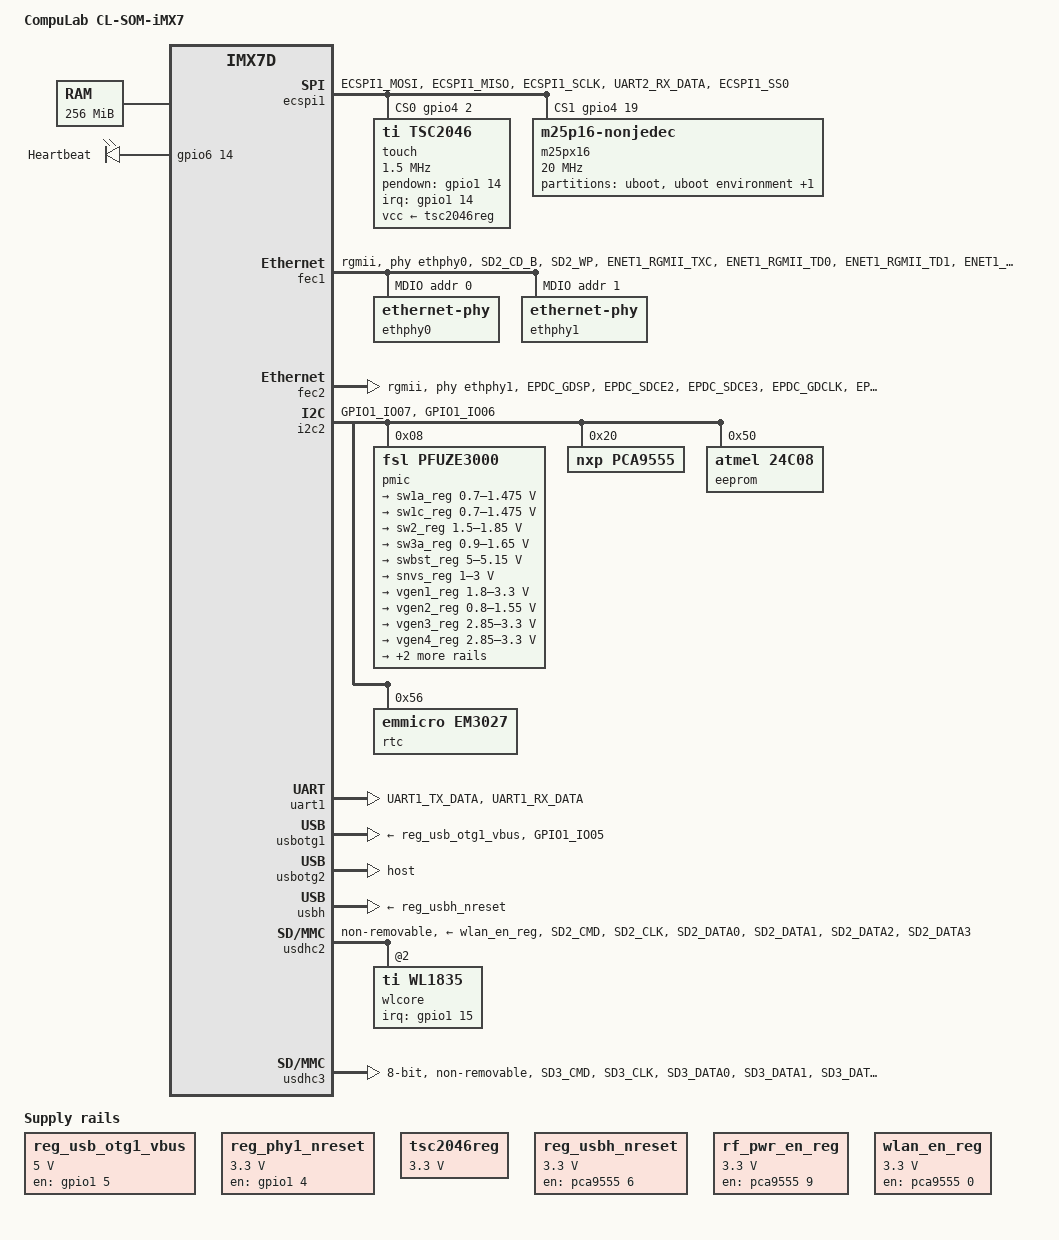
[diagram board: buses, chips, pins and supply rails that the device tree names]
/*
 * Support for CompuLab CL-SOM-iMX7 System-on-Module
 *
 * Copyright (C) 2015 CompuLab Ltd. - http://www.compulab.co.il/
 * Author: Ilya Ledvich <ilya@compulab.co.il>
 *
 * This file is dual-licensed: you can use it either under the terms
 * of the GPL or the X11 license, at your option. Note that this dual
 * licensing only applies to this file, and not this project as a
 * whole.
 */

/dts-v1/;

#include "imx7d.dtsi"

/ {
	model = "CompuLab CL-SOM-iMX7";
	compatible = "compulab,cl-som-imx7", "fsl,imx7d";

	aliases {
		gpmi = &gpmi;
	};

	memory {
		reg = <0x80000000 0x10000000>; /* 256 MB - minimal configuration */
	};

	/* Regulators */
	reg_usb_otg1_vbus: regulator-vbus {
		compatible = "regulator-fixed";
		regulator-name = "usb_otg1_vbus";
		regulator-min-microvolt = <5000000>;
		regulator-max-microvolt = <5000000>;
		gpio = <&gpio1 5 GPIO_ACTIVE_HIGH>;
		enable-active-high;
	};

	reg_phy1_nreset: regulator-phy1-nrst {
		compatible = "regulator-fixed";
		regulator-name = "fec1_phy_nreset";
		regulator-min-microvolt = <3300000>;
		regulator-max-microvolt = <3300000>;
		gpio = <&gpio1 4 GPIO_ACTIVE_HIGH>;
		enable-active-high;
		regulator-always-on;
	};

	tsc2046reg: regulator-tsc {
		compatible = "regulator-fixed";
		regulator-name = "tsc2046-reg";
		regulator-min-microvolt = <3300000>;
		regulator-max-microvolt = <3300000>;
		regulator-always-on;
	};

	reg_usbh_nreset: regulator-usbh-nrst {
		compatible = "regulator-fixed";
		regulator-name = "usb_host_nreset";
		regulator-min-microvolt = <3300000>;
		regulator-max-microvolt = <3300000>;
		gpio = <&pca9555 6 GPIO_ACTIVE_HIGH>;
		enable-active-high;
		regulator-always-on;
	};

	rf_pwr_en_reg: regulator-rf-pwr-en {
		compatible = "regulator-fixed";
		regulator-name = "rf-pwr-en-regulator";
		regulator-min-microvolt = <3300000>;
		regulator-max-microvolt = <3300000>;
		gpio = <&pca9555 9 GPIO_ACTIVE_HIGH>;
		startup-delay-us = <70000>;
		enable-active-high;
		regulator-always-on;
	};

	wlan_en_reg: regulator-wlan-en {
		compatible = "regulator-fixed";
		regulator-name = "wlan-en-regulator";
		regulator-min-microvolt = <3300000>;
		regulator-max-microvolt = <3300000>;
		gpio = <&pca9555 0 GPIO_ACTIVE_HIGH>;
		/* WLAN card specific delay */
		startup-delay-us = <70000>;
		enable-active-high;
	};
	/* Regulators - end */

	leds {
		compatible = "gpio-leds";

		onboard-led {
			label = "Heartbeat";
			gpios = <&gpio6 14 GPIO_ACTIVE_HIGH>;
			linux,default-trigger = "heartbeat";
		};
	};
};

&cpu0 {
	arm-supply = <&sw1a_reg>;
};

&ecspi1 {
	fsl,spi-num-chipselects = <2>;
	pinctrl-names = "default";
	pinctrl-0 = <&pinctrl_ecspi1 &pinctrl_ecspi1_cs>;
	cs-gpios = <&gpio4 2 0>, <&gpio4 19 0>;
	status = "okay";

	/* touch controller */
	touch:	tsc2046@0 {
		pinctrl-names = "default";
		pinctrl-0 = <&pinctrl_tsc2046>;

		compatible = "ti,tsc2046";
		vcc-supply = <&tsc2046reg>;

		reg = <0>;
		spi-max-frequency = <1500000>;

		interrupt-parent = <&gpio1>;
		interrupts = <14 0>;
		pendown-gpio = <&gpio1 14 0>;

		ti,x-min = /bits/ 16 <0x0>;
		ti,x-max = /bits/ 16 <0x0fff>;
		ti,y-min = /bits/ 16 <0x0>;
		ti,y-max = /bits/ 16 <0x0fff>;

		ti,x-plate-ohms = /bits/ 16 <180>;
		ti,pressure-max = /bits/ 16 <255>;

		ti,debounce-max = /bits/ 16 <30>;
		ti,debounce-tol = /bits/ 16 <10>;
		ti,debounce-rep = /bits/ 16 <1>;

		linux,wakeup;
	};

	m25px16@0 {
		#address-cells = <1>;
		#size-cells = <1>;
		compatible = "m25p16-nonjedec";
		spi-max-frequency = <20000000>;
		reg = <1>;

		partition@0 {
			label = "uboot";
			reg = <0x0 0xc0000>;
		};

		partition@c0000 {
			label = "uboot environment";
			reg = <0xc0000 0x40000>;
		};

		partition@100000 {
			label = "splash";
			reg = <0x100000 0x100000>;
		};
	};
};

&fec1 {
	pinctrl-names = "default";
	pinctrl-0 = <&pinctrl_enet1>;
	assigned-clocks = <&clks IMX7D_ENET1_TIME_ROOT_SRC>,
			  <&clks IMX7D_ENET1_TIME_ROOT_CLK>;
	assigned-clock-parents = <&clks IMX7D_PLL_ENET_MAIN_100M_CLK>;
	assigned-clock-rates = <0>, <100000000>;
	phy-mode = "rgmii";
	phy-handle = <&ethphy0>;
	fsl,magic-packet;
	phy-reset-gpios = <&pca9555 4 GPIO_ACTIVE_LOW>;	
	status = "okay";

	mdio {
		#address-cells = <1>;
		#size-cells = <0>;

		ethphy0: ethernet-phy@0 {
			reg = <0>;
		};

		ethphy1: ethernet-phy@1 {
			reg = <1>;
		};
	};
};

&fec2 {
	pinctrl-names = "default";
	pinctrl-0 = <&pinctrl_enet2>;
	assigned-clocks = <&clks IMX7D_ENET2_TIME_ROOT_SRC>,
			  <&clks IMX7D_ENET2_TIME_ROOT_CLK>;
	assigned-clock-parents = <&clks IMX7D_PLL_ENET_MAIN_100M_CLK>;
	assigned-clock-rates = <0>, <100000000>;
	phy-mode = "rgmii";
	phy-handle = <&ethphy1>;
	fsl,magic-packet;
	status = "okay";
};

&gpmi {
	pinctrl-names = "default";
	pinctrl-0 = <&pinctrl_gpmi_nand>;
	status = "disabled";
	nand-on-flash-bbt;

	/* MTD partition table */
	partition@0 {
		label = "kernel";
		reg = <0x00000000 0x00980000>;
	};
	partition@980000 {
		label = "dtb";
		reg = <0x00980000 0x00080000>;
	};
	partition@a00000 {
		label = "rootfs";
		reg = <0x00a00000 0x0>;
	};
};

&i2c2 {
	pinctrl-names = "default";
	pinctrl-0 = <&pinctrl_i2c2>;
	status = "okay";

	pmic: pmic@8 {
		compatible = "fsl,pfuze3000";
		reg = <0x08>;

		regulators {
			sw1a_reg: sw1a {
				regulator-min-microvolt = <700000>;
				regulator-max-microvolt = <1475000>;
				regulator-boot-on;
				regulator-always-on;
				regulator-ramp-delay = <6250>;
			};

			/* use sw1c_reg to align with pfuze100/pfuze200 */
			sw1c_reg: sw1b {
				regulator-min-microvolt = <700000>;
				regulator-max-microvolt = <1475000>;
				regulator-boot-on;
				regulator-always-on;
				regulator-ramp-delay = <6250>;
			};

			sw2_reg: sw2 {
				regulator-min-microvolt = <1500000>;
				regulator-max-microvolt = <1850000>;
				regulator-boot-on;
				regulator-always-on;
			};

			sw3a_reg: sw3 {
				regulator-min-microvolt = <900000>;
				regulator-max-microvolt = <1650000>;
				regulator-boot-on;
				regulator-always-on;
			};

			swbst_reg: swbst {
				regulator-min-microvolt = <5000000>;
				regulator-max-microvolt = <5150000>;
			};

			snvs_reg: vsnvs {
				regulator-min-microvolt = <1000000>;
				regulator-max-microvolt = <3000000>;
				regulator-boot-on;
				regulator-always-on;
			};

			vref_reg: vrefddr {
				regulator-boot-on;
				regulator-always-on;
			};

			vgen1_reg: vldo1 {
				regulator-min-microvolt = <1800000>;
				regulator-max-microvolt = <3300000>;
				regulator-always-on;
			};

			vgen2_reg: vldo2 {
				regulator-min-microvolt = <800000>;
				regulator-max-microvolt = <1550000>;
			};

			vgen3_reg: vccsd {
				regulator-min-microvolt = <2850000>;
				regulator-max-microvolt = <3300000>;
				regulator-always-on;
			};

			vgen4_reg: v33 {
				regulator-min-microvolt = <2850000>;
				regulator-max-microvolt = <3300000>;
				regulator-always-on;
			};

			vgen5_reg: vldo3 {
				regulator-min-microvolt = <1800000>;
				regulator-max-microvolt = <3300000>;
				regulator-always-on;
			};

			vgen6_reg: vldo4 {
				regulator-min-microvolt = <1800000>;
				regulator-max-microvolt = <3300000>;
				regulator-always-on;
			};
		};
	};

	pca9555: pca9555@20 {
		compatible = "nxp,pca9555";
		gpio-controller;
		#gpio-cells = <2>;
		reg = <0x20>;
	};

	eeprom@50 {
		compatible = "atmel,24c08";
		reg = <0x50>;
		pagesize = <16>;
	};

	rtc@56 {
		compatible = "emmicro,em3027";
		reg = <0x56>;
	};
};

&uart1 {
	pinctrl-names = "default";
	pinctrl-0 = <&pinctrl_uart1>;
	assigned-clocks = <&clks IMX7D_UART1_ROOT_SRC>;
	assigned-clock-parents = <&clks IMX7D_OSC_24M_CLK>;
	status = "okay";
};

&usbotg1 {
	pinctrl-names = "default";
	pinctrl-0 = <&pinctrl_usbotg1>;
	vbus-supply = <&reg_usb_otg1_vbus>;
	status = "okay";
};

&usbotg2 {
	dr_mode = "host";
	status = "okay";
};

&usbh {
	vbus-supply = <&reg_usbh_nreset>;
	status = "okay";
};

&usdhc2 {
	pinctrl-names = "default";
	pinctrl-0 = <&pinctrl_usdhc2>;
	cd-gpios = <>;
	wp-gpios = <>;
	no-1-8-v;
	keep-power-in-suspend;
	enable-sdio-wakeup;
	vmmc-supply = <&wlan_en_reg>;
	non-removable;
	cap-power-off-card;
	status = "okay";
	#address-cells = <1>;
	#size-cells = <0>;
	wlcore: wlcore@0 {
		compatible = "ti,wl1835";
		reg = <2>;
		interrupt-parent = <&gpio1>;
		interrupts = <15 IRQ_TYPE_LEVEL_HIGH>;
	};
};

&usdhc3 {
	pinctrl-names = "default";
	pinctrl-0 = <&pinctrl_usdhc3>;
	assigned-clocks = <&clks IMX7D_USDHC3_ROOT_CLK>;
	assigned-clock-rates = <400000000>;
	bus-width = <8>;
	fsl,tuning-step = <2>;
	non-removable;
	status = "okay";
};

&wdog1 {
	pinctrl-names = "default";
	pinctrl-0 = <&pinctrl_wdog>;
	fsl,ext-reset-output;
};

&iomuxc {
	pinctrl-names = "default";
	pinctrl-0 = <&pinctrl_hog>;

	pinctrl_hog: hoggrp {
		fsl,pins = <
			MX7D_PAD_GPIO1_IO15__GPIO1_IO15			0x34 /* WLAN IRQ */
			MX7D_PAD_SAI1_TX_SYNC__GPIO6_IO14		0x34 /* Onboard LED */
		>;
	};

	pinctrl_ecspi1: ecspi1grp {
		fsl,pins = <
			MX7D_PAD_ECSPI1_MOSI__ECSPI1_MOSI		0xf
			MX7D_PAD_ECSPI1_MISO__ECSPI1_MISO		0xf
			MX7D_PAD_ECSPI1_SCLK__ECSPI1_SCLK		0xf
		>;
	};

	pinctrl_ecspi1_cs: ecspi1_cs_grp {
		fsl,pins = <
			/* Touchscreen chipselect */
			MX7D_PAD_UART2_RX_DATA__GPIO4_IO2		0x34
			/* SPI flash chipselect */
			MX7D_PAD_ECSPI1_SS0__GPIO4_IO19			0x34
		>;
	};

	pinctrl_enet1: enet1grp {
		fsl,pins = <
			MX7D_PAD_SD2_CD_B__ENET1_MDIO			0x30
			MX7D_PAD_SD2_WP__ENET1_MDC			0x30
			MX7D_PAD_ENET1_RGMII_TXC__ENET1_RGMII_TXC	0x1
			MX7D_PAD_ENET1_RGMII_TD0__ENET1_RGMII_TD0	0x1
			MX7D_PAD_ENET1_RGMII_TD1__ENET1_RGMII_TD1	0x1
			MX7D_PAD_ENET1_RGMII_TD2__ENET1_RGMII_TD2	0x1
			MX7D_PAD_ENET1_RGMII_TD3__ENET1_RGMII_TD3	0x1
			MX7D_PAD_ENET1_RGMII_TX_CTL__ENET1_RGMII_TX_CTL	0x1
			MX7D_PAD_ENET1_RGMII_RXC__ENET1_RGMII_RXC	0x1
			MX7D_PAD_ENET1_RGMII_RD0__ENET1_RGMII_RD0	0x1
			MX7D_PAD_ENET1_RGMII_RD1__ENET1_RGMII_RD1	0x1
			MX7D_PAD_ENET1_RGMII_RD2__ENET1_RGMII_RD2	0x1
			MX7D_PAD_ENET1_RGMII_RD3__ENET1_RGMII_RD3	0x1
			MX7D_PAD_ENET1_RGMII_RX_CTL__ENET1_RGMII_RX_CTL	0x1
		>;
	};

	pinctrl_enet2: enet2grp {
		fsl,pins = <
			MX7D_PAD_EPDC_GDSP__ENET2_RGMII_TXC		0x1
			MX7D_PAD_EPDC_SDCE2__ENET2_RGMII_TD0		0x1
			MX7D_PAD_EPDC_SDCE3__ENET2_RGMII_TD1		0x1
			MX7D_PAD_EPDC_GDCLK__ENET2_RGMII_TD2		0x1
			MX7D_PAD_EPDC_GDOE__ENET2_RGMII_TD3		0x1
			MX7D_PAD_EPDC_GDRL__ENET2_RGMII_TX_CTL		0x1
			MX7D_PAD_EPDC_SDCE1__ENET2_RGMII_RXC		0x1
			MX7D_PAD_EPDC_SDCLK__ENET2_RGMII_RD0		0x1
			MX7D_PAD_EPDC_SDLE__ENET2_RGMII_RD1		0x1
			MX7D_PAD_EPDC_SDOE__ENET2_RGMII_RD2		0x1
			MX7D_PAD_EPDC_SDSHR__ENET2_RGMII_RD3		0x1
			MX7D_PAD_EPDC_SDCE0__ENET2_RGMII_RX_CTL		0x1
		>;
	};

	pinctrl_gpmi_nand: gpmi-nand {
		fsl,pins = <
			MX7D_PAD_SD3_CLK__NAND_CLE			0x71
			MX7D_PAD_SD3_CMD__NAND_ALE			0x71
			MX7D_PAD_SD3_DATA0__NAND_DATA00			0x71
			MX7D_PAD_SD3_DATA1__NAND_DATA01			0x71
			MX7D_PAD_SD3_DATA2__NAND_DATA02			0x71
			MX7D_PAD_SD3_DATA3__NAND_DATA03			0x71
			MX7D_PAD_SD3_DATA4__NAND_DATA04			0x71
			MX7D_PAD_SD3_DATA5__NAND_DATA05			0x71
			MX7D_PAD_SD3_DATA6__NAND_DATA06			0x71
			MX7D_PAD_SD3_DATA7__NAND_DATA07			0x71
			MX7D_PAD_SD3_STROBE__NAND_RE_B			0x71
			MX7D_PAD_SD3_RESET_B__NAND_WE_B			0x71
			MX7D_PAD_SAI1_TX_BCLK__NAND_CE0_B		0x71
			MX7D_PAD_SAI1_TX_DATA__NAND_READY_B		0x74
			MX7D_PAD_SAI1_MCLK__NAND_WP_B			0x71
		>;
	};

	pinctrl_tsc2046: tsc2046grp {
		fsl,pins = <
			MX7D_PAD_GPIO1_IO14__GPIO1_IO14			0x34 /* PENDOWN */
		>;
	};

	pinctrl_uart1: uart1grp {
		fsl,pins = <
			MX7D_PAD_UART1_TX_DATA__UART1_DCE_TX		0x79
			MX7D_PAD_UART1_RX_DATA__UART1_DCE_RX		0x79
		>;
	};

	pinctrl_usdhc2: usdhc2grp {
		fsl,pins = <
			MX7D_PAD_SD2_CMD__SD2_CMD			0x59
			MX7D_PAD_SD2_CLK__SD2_CLK			0x19
			MX7D_PAD_SD2_DATA0__SD2_DATA0			0x59
			MX7D_PAD_SD2_DATA1__SD2_DATA1			0x59
			MX7D_PAD_SD2_DATA2__SD2_DATA2			0x59
			MX7D_PAD_SD2_DATA3__SD2_DATA3			0x59
		>;
	};

	pinctrl_usdhc3: usdhc3grp {
		fsl,pins = <
			MX7D_PAD_SD3_CMD__SD3_CMD			0x59
			MX7D_PAD_SD3_CLK__SD3_CLK			0x19
			MX7D_PAD_SD3_DATA0__SD3_DATA0			0x59
			MX7D_PAD_SD3_DATA1__SD3_DATA1			0x59
			MX7D_PAD_SD3_DATA2__SD3_DATA2			0x59
			MX7D_PAD_SD3_DATA3__SD3_DATA3			0x59
			MX7D_PAD_SD3_DATA4__SD3_DATA4			0x59
			MX7D_PAD_SD3_DATA5__SD3_DATA5			0x59
			MX7D_PAD_SD3_DATA6__SD3_DATA6			0x59
			MX7D_PAD_SD3_DATA7__SD3_DATA7			0x59
			MX7D_PAD_SD3_STROBE__SD3_STROBE			0x19
		>;
	};
};

&iomuxc_lpsr {
	pinctrl-names = "default";
	pinctrl-0 = <&pinctrl_hog_lpsr>;

	pinctrl_hog_lpsr: hoggrp_lpsr {
		fsl,pins = <
			MX7D_PAD_GPIO1_IO04__GPIO1_IO4			0x34 /* FEC1 Phy nReset */
		>;
	};

	pinctrl_i2c2: i2c2grp {
		fsl,pins = <
			MX7D_PAD_GPIO1_IO07__I2C2_SDA			0x4000000f
			MX7D_PAD_GPIO1_IO06__I2C2_SCL			0x4000000f
		>;
	};

	pinctrl_usbotg1: usbotg1grp {
		fsl,pins = <
			MX7D_PAD_GPIO1_IO05__GPIO1_IO5			0x14 /* OTG PWREN */
		>;
	};

	pinctrl_wdog: wdoggrp {
		fsl,pins = <
			MX7D_PAD_GPIO1_IO00__WDOD1_WDOG_B		0x74
		>;
	};
};
